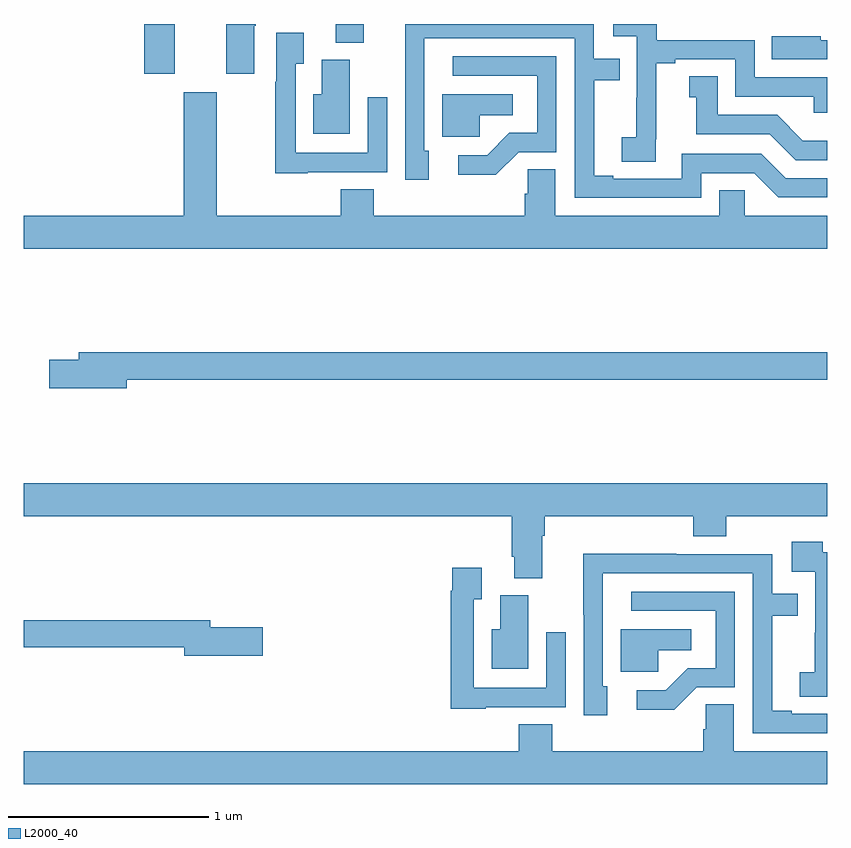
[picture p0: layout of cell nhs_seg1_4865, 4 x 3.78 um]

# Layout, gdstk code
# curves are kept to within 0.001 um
import gdstk
lib = gdstk.Library(unit=1e-6, precision=1e-09)
def R(c, l, rs):  # rectangles x0, y0, x1, y1
    for r in rs: c.add(gdstk.rectangle(r[:2], r[2:], *l))
def P(c, l, *ps):  # polygons
    for p in ps: c.add(gdstk.Polygon(p, *l))
L2000_40 = (2000, 40)

nhs_seg1_4865 = lib.new_cell('nhs_seg1_4865')
R(nhs_seg1_4865, L2000_40, [(375.599,537.951,375.751,538.199), (376.553,538.105,376.693,538.199)])
P(nhs_seg1_4865, L2000_40, [(376.147,538.19),(376.155,538.19),(376.155,538.199),(376.007,538.199),(376.007,537.951),(376.147,537.951)],
  [(378.146,537.625),(378.148,537.625),(378.148,538.003),(378.244,538.003),(378.244,538.023),(378.543,538.023),(378.543,537.837),(378.933,537.837),(378.933,537.756),(379,537.756),(379,537.933),(378.639,537.933),(378.639,538.119),(378.152,538.119),(378.152,538.199),(377.934,538.199),(377.934,538.137),(378.051,538.137),(378.051,537.833),(378.05,537.833),(378.05,537.636),(377.976,537.636),(377.976,537.514),(378.146,537.514)],
  [(378.372,537.456),(378.636,537.456),(378.756,537.336),(379,537.336),(379,537.432),(378.792,537.432),(378.672,537.552),(378.276,537.552),(378.276,537.429),(377.935,537.429),(377.935,537.444),(377.839,537.444),(377.839,537.918),(377.966,537.918),(377.966,538.026),(377.838,538.026),(377.838,538.199),(376.898,538.199),(376.899,537.423),(377.017,537.423),(377.017,537.567),(376.995,537.567),(376.995,538.128),(377.742,538.128),(377.742,537.333),(378.372,537.333)],
  [(376.413,537.462),(376.809,537.462),(376.809,537.835),(376.713,537.835),(376.713,537.558),(376.353,537.558),(376.353,538),(376.393,538),(376.393,538.156),(376.257,538.156),(376.257,537.911),(376.252,537.911),(376.252,537.455),(376.413,537.455)],
  [(379,538.119),(378.967,538.119),(378.967,538.138),(378.724,538.138),(378.724,538.023),(379,538.023)],
  [(377.463,537.561),(377.652,537.561),(377.652,538.038),(377.136,538.038),(377.136,537.942),(377.556,537.942),(377.556,537.657),(377.418,537.657),(377.307,537.546),(377.163,537.546),(377.163,537.449),(377.35,537.449)],
  [(376.624,538.02),(376.484,538.02),(376.484,537.85),(376.442,537.85),(376.442,537.653),(376.624,537.653)],
  [(379,537.619),(378.878,537.619),(378.75,537.747),(378.454,537.747),(378.454,537.938),(378.314,537.938),(378.314,537.835),(378.347,537.835),(378.347,537.651),(378.714,537.651),(378.843,537.522),(379,537.522)],
  [(379,537.244),(378.588,537.244),(378.588,537.371),(378.461,537.371),(378.461,537.244),(377.647,537.244),(377.647,537.476),(377.508,537.476),(377.508,537.353),(377.495,537.353),(377.495,537.244),(376.742,537.244),(376.742,537.377),(376.577,537.377),(376.577,537.244),(375.961,537.244),(375.961,537.859),(375.797,537.859),(375.797,537.244),(375,537.244),(375,537.08),(379,537.08)],
  [(377.271,537.746),(377.434,537.746),(377.434,537.85),(377.084,537.85),(377.084,537.639),(377.271,537.639)],
  [(375.514,536.428),(379,536.428),(379,536.564),(375.275,536.564),(375.275,536.528),(375.126,536.528),(375.126,536.386),(375.514,536.386)],
  [(377.581,535.652),(377.594,535.652),(377.594,535.748),(378.332,535.748),(378.332,535.649),(378.497,535.649),(378.497,535.748),(379,535.748),(379,535.912),(375,535.912),(375,535.748),(377.429,535.748),(377.429,535.546),(377.441,535.546),(377.441,535.441),(377.581,535.441)],
  [(379,535.569),(378.978,535.569),(378.978,535.621),(378.822,535.621),(378.822,535.473),(378.939,535.473),(378.939,535.169),(378.938,535.169),(378.938,534.972),(378.864,534.972),(378.864,534.85),(379,534.85)],
  [(379,534.765),(378.823,534.765),(378.823,534.78),(378.727,534.78),(378.727,535.254),(378.854,535.254),(378.854,535.362),(378.726,535.362),(378.726,535.56),(378.248,535.56),(378.248,535.562),(377.786,535.562),(377.786,535.258),(377.787,535.258),(377.787,534.759),(377.905,534.759),(377.905,534.903),(377.883,534.903),(377.883,535.464),(378.63,535.464),(378.63,534.669),(379,534.669)],
  [(377.301,534.798),(377.697,534.798),(377.697,535.171),(377.601,535.171),(377.601,534.894),(377.241,534.894),(377.241,535.336),(377.281,535.336),(377.281,535.492),(377.133,535.492),(377.133,535.379),(377.125,535.379),(377.125,534.791),(377.301,534.791)],
  [(378.351,534.897),(378.54,534.897),(378.54,535.374),(378.024,535.374),(378.024,535.278),(378.444,535.278),(378.444,534.993),(378.306,534.993),(378.195,534.882),(378.051,534.882),(378.051,534.785),(378.238,534.785)],
  [(377.512,535.356),(377.372,535.356),(377.372,535.186),(377.33,535.186),(377.33,534.989),(377.512,534.989)],
  [(376.189,535.196),(375.928,535.196),(375.928,535.232),(375,535.232),(375,535.096),(375.8,535.096),(375.8,535.054),(376.189,535.054)],
  [(378.159,535.082),(378.322,535.082),(378.322,535.186),(377.972,535.186),(377.972,534.975),(378.159,534.975)],
  [(379,534.58),(378.535,534.58),(378.535,534.812),(378.396,534.812),(378.396,534.689),(378.383,534.689),(378.383,534.58),(377.63,534.58),(377.63,534.713),(377.465,534.713),(377.465,534.58),(375,534.58),(375,534.416),(379,534.416)])

lib.write_gds('nhs_seg1_4865.gds')
